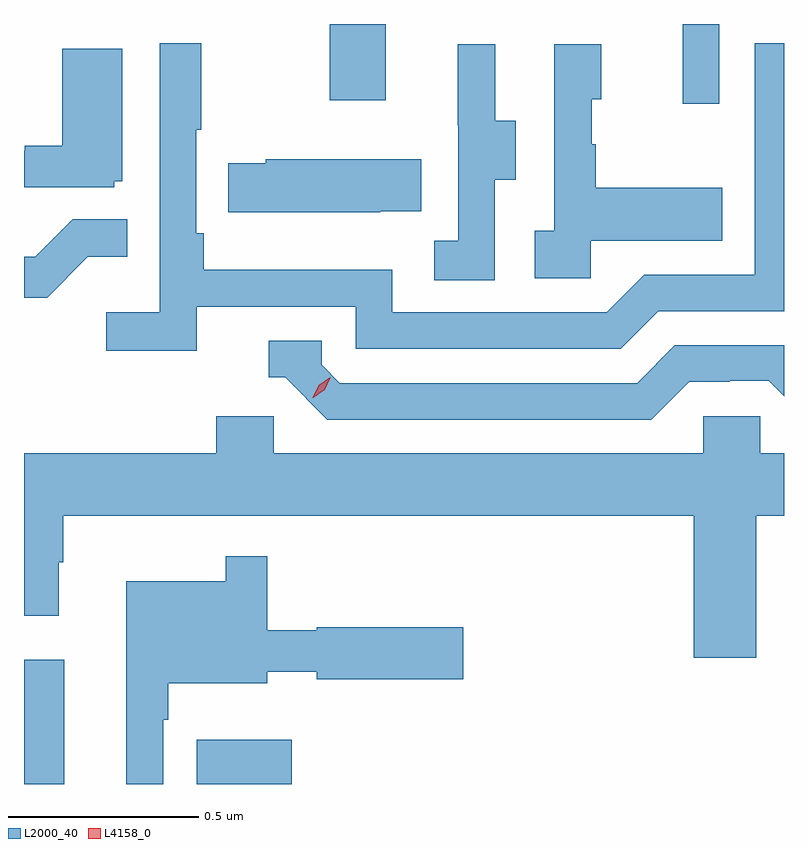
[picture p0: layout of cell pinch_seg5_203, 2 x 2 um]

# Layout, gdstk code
import gdstk
lib = gdstk.Library(unit=1e-6, precision=1e-09)
def R(c, l, rs):  # rectangles x0, y0, x1, y1
    for r in rs: c.add(gdstk.rectangle(r[:2], r[2:], *l))
def P(c, l, *ps):  # polygons
    for p in ps: c.add(gdstk.Polygon(p, *l))
L2000_40 = (2000, 40)
L4158_0 = (4158, 0)

pinch_seg5_203 = lib.new_cell('pinch_seg5_203')
R(pinch_seg5_203, L2000_40, [(990.417,894.682,990.523,895.009), (990.872,894.682,991.121,894.799), (992.15,896.472,992.247,896.682), (991.222,896.481,991.369,896.682)])
P(pinch_seg5_203, L2000_40, [(990.872,895.938),(991.29,895.938),(991.29,895.827),(991.987,895.827),(992.086,895.926),(992.417,895.926),(992.417,896.631),(992.34,896.631),(992.34,896.022),(992.049,896.022),(991.95,895.923),(991.386,895.923),(991.386,896.035),(990.89,896.035),(990.89,896.131),(990.87,896.131),(990.87,896.404),(990.883,896.404),(990.883,896.632),(990.774,896.632),(990.774,895.924),(990.633,895.924),(990.633,895.822),(990.872,895.822)],
  [(991.908,896.111),(992.255,896.111),(992.255,896.251),(991.921,896.251),(991.921,896.366),(991.911,896.366),(991.911,896.484),(991.936,896.484),(991.936,896.629),(991.812,896.629),(991.812,896.138),(991.761,896.138),(991.761,896.013),(991.908,896.013)],
  [(991.656,896.272),(991.711,896.272),(991.711,896.427),(991.657,896.427),(991.657,896.629),(991.559,896.629),(991.559,896.415),(991.56,896.415),(991.56,896.111),(991.497,896.111),(991.497,896.008),(991.656,896.008)],
  [(990.654,896.268),(990.676,896.268),(990.676,896.617),(990.518,896.617),(990.518,896.362),(990.419,896.362),(990.419,896.349),(990.417,896.349),(990.417,896.253),(990.654,896.253)],
  [(991.355,896.189),(991.463,896.189),(991.463,896.326),(991.053,896.326),(991.053,896.316),(990.955,896.316),(990.955,896.186),(991.355,896.186)],
  [(990.585,896.069),(990.689,896.069),(990.689,896.168),(990.545,896.168),(990.447,896.07),(990.417,896.07),(990.417,895.962),(990.478,895.962)],
  [(992.167,895.74),(992.274,895.74),(992.274,895.743),(992.377,895.743),(992.417,895.703),(992.417,895.836),(992.13,895.836),(992.031,895.737),(991.248,895.737),(991.2,895.785),(991.2,895.848),(991.061,895.848),(991.061,895.752),(991.104,895.752),(991.215,895.641),(992.068,895.641)],
  [(992.344,895.388),(992.417,895.388),(992.417,895.552),(992.355,895.552),(992.355,895.65),(992.205,895.65),(992.205,895.552),(991.074,895.552),(991.074,895.65),(990.923,895.65),(990.923,895.552),(990.417,895.552),(990.417,895.125),(990.508,895.125),(990.508,895.265),(990.52,895.265),(990.52,895.388),(992.18,895.388),(992.18,895.014),(992.344,895.014)],
  [(990.783,894.851),(990.796,894.851),(990.796,894.947),(991.057,894.947),(991.057,894.977),(991.188,894.977),(991.188,894.958),(991.573,894.958),(991.573,895.095),(991.188,895.095),(991.188,895.087),(991.057,895.087),(991.057,895.282),(990.948,895.282),(990.948,895.216),(990.686,895.216),(990.686,894.682),(990.783,894.682)])
P(pinch_seg5_203, L4158_0, [(991.177,895.699),(991.177,895.699),(991.193,895.732),(991.223,895.752),(991.223,895.752),(991.223,895.751),(991.208,895.719),(991.178,895.699)])

lib.write_gds('pinch_seg5_203.gds')
